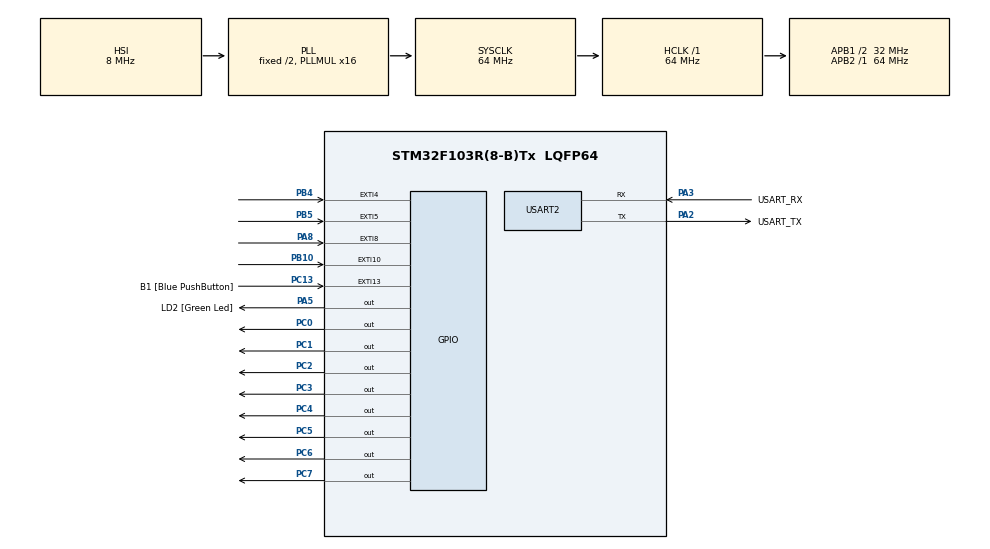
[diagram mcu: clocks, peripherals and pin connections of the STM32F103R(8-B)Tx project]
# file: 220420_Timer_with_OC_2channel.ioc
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Mcu.Family=STM32F1
Mcu.Name=STM32F103R(8-B)Tx
Mcu.Package=LQFP64
NVIC.EXTI15_10_IRQn=true\:0\:0\:false\:false\:true\:true\:true\:true
NVIC.EXTI4_IRQn=true\:0\:0\:false\:false\:true\:true\:true\:true
NVIC.EXTI9_5_IRQn=true\:0\:0\:false\:false\:true\:true\:true\:true
NVIC.PriorityGroup=NVIC_PRIORITYGROUP_4
NVIC.TIM2_IRQn=true\:0\:0\:false\:false\:true\:true\:true\:true
PA13.GPIO_Label=TMS
PA13.Mode=Serial_Wire
PA13.Signal=SYS_JTMS-SWDIO
PA14.GPIO_Label=TCK
PA14.Mode=Serial_Wire
PA14.Signal=SYS_JTCK-SWCLK
PA2.GPIO_Label=USART_TX
PA2.GPIO_Mode=GPIO_MODE_AF_PP
PA2.GPIO_PuPd=GPIO_NOPULL
PA2.GPIO_Speed=GPIO_SPEED_FREQ_LOW
PA2.Mode=Asynchronous
PA2.Signal=USART2_TX
PA3.GPIO_Label=USART_RX
PA3.GPIO_Mode=GPIO_MODE_AF_PP
PA3.GPIO_PuPd=GPIO_NOPULL
PA3.GPIO_Speed=GPIO_SPEED_FREQ_LOW
PA3.Mode=Asynchronous
PA3.Signal=USART2_RX
PA5.GPIO_Label=LD2 [Green Led]
PA5.GPIO_ModeDefaultOutputPP=GPIO_MODE_OUTPUT_PP
PA5.GPIO_PuPd=GPIO_NOPULL
PA5.GPIO_Speed=GPIO_SPEED_FREQ_LOW
PA5.Signal=GPIO_Output
PA8.Signal=GPXTI8
PB10.Signal=GPXTI10
PB3.GPIO_Label=SWO
PB3.Signal=SYS_JTDO-TRACESWO
PB4.Signal=GPXTI4
PB5.Signal=GPXTI5
PC0.Signal=GPIO_Output
PC1.Signal=GPIO_Output
PC13-TAMPER-RTC.GPIO_Label=B1 [Blue PushButton]
PC13-TAMPER-RTC.GPIO_PuPd=GPIO_NOPULL
PC13-TAMPER-RTC.Signal=GPXTI13
PC14-OSC32_IN.Mode=LSE-External-Oscillator
PC14-OSC32_IN.Signal=RCC_OSC32_IN
PC15-OSC32_OUT.Mode=LSE-External-Oscillator
PC15-OSC32_OUT.Signal=RCC_OSC32_OUT
PC2.Signal=GPIO_Output
PC3.Signal=GPIO_Output
PC4.Signal=GPIO_Output
PC5.Signal=GPIO_Output
PC6.Signal=GPIO_Output
PC7.Signal=GPIO_Output
PD0-OSC_IN.Mode=HSE-External-Clock-Source
PD0-OSC_IN.Signal=RCC_OSC_IN
PD1-OSC_OUT.Mode=HSE-External-Clock-Source
PD1-OSC_OUT.Signal=RCC_OSC_OUT
ProjectManager.HeapSize=0x200
ProjectManager.StackSize=0x400
ProjectManager.TargetToolchain=STM32CubeIDE
RCC.AHBFreq_Value=64000000
RCC.APB1CLKDivider=RCC_HCLK_DIV2
RCC.APB1Freq_Value=32000000
RCC.APB1TimFreq_Value=64000000
RCC.APB2Freq_Value=64000000
RCC.APB2TimFreq_Value=64000000
RCC.HCLKFreq_Value=64000000
RCC.PLLMUL=RCC_PLL_MUL16
RCC.RTCClockSelection=RCC_RTCCLKSOURCE_LSE
RCC.SYSCLKFreq_VALUE=64000000
RCC.SYSCLKSource=RCC_SYSCLKSOURCE_PLLCLK
RCC.USBFreq_Value=64000000
TIM2.Channel-Output\ Compare1\ No\ Output=TIM_CHANNEL_1
TIM2.Channel-Output\ Compare2\ No\ Output=TIM_CHANNEL_2
TIM2.Period=10000-1
TIM2.Prescaler=6400-1
TIM2.Pulse-Output\ Compare1\ No\ Output=1000-1
TIM2.Pulse-Output\ Compare2\ No\ Output=9000-1
USART2.VirtualMode=VM_ASYNC
VP_TIM2_VS_ClockSourceINT.Mode=Internal
VP_TIM2_VS_no_output1.Mode=Output Compare1 No Output
VP_TIM2_VS_no_output2.Mode=Output Compare2 No Output
board=NUCLEO-F103RB

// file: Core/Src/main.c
/* USER CODE BEGIN Header */
/**
  ******************************************************************************
  * @file           : main.c
  * @brief          : Main program body
  ******************************************************************************
  * @attention
  *
  * Copyright (c) 2022 STMicroelectronics.
  * All rights reserved.
  *
  * This software is licensed under terms that can be found in the LICENSE file
  * in the root directory of this software component.
  * If no LICENSE file comes with this software, it is provided AS-IS.
  *
  ******************************************************************************
  */
/* USER CODE END Header */
#include "main.h"

 TIM_HandleTypeDef htim2;

UART_HandleTypeDef huart2;

void SystemClock_Config(void);
static void MX_GPIO_Init(void);
static void MX_USART2_UART_Init(void);
static void MX_TIM2_Init(void);

/* USER CODE BEGIN 0 */

TIM_OC_InitTypeDef sConfigOC = {0};
/* USER CODE END 0 */

int main(void)
{

  /* MCU Configuration--------------------------------------------------------*/

  /* Reset of all peripherals, Initializes the Flash interface and the Systick. */
  HAL_Init();

  /* Configure the system clock */
  SystemClock_Config();

  /* Initialize all configured peripherals */
  MX_GPIO_Init();
  MX_USART2_UART_Init();
  MX_TIM2_Init();
  /* USER CODE BEGIN 2 */
  HAL_TIM_Base_Start_IT(&htim2);
  HAL_TIM_OC_Start_IT(&htim2, TIM_CHANNEL_1);
  HAL_TIM_OC_Start_IT(&htim2, TIM_CHANNEL_2);
  /* USER CODE END 2 */

  /* Infinite loop */
  while (1)
  {

  }
}

void SystemClock_Config(void)
{
  RCC_OscInitTypeDef RCC_OscInitStruct = {0};
  RCC_ClkInitTypeDef RCC_ClkInitStruct = {0};

  /** Initializes the RCC Oscillators according to the specified parameters
  * in the RCC_OscInitTypeDef structure.
  */
  RCC_OscInitStruct.OscillatorType = RCC_OSCILLATORTYPE_HSI;
  RCC_OscInitStruct.HSIState = RCC_HSI_ON;
  RCC_OscInitStruct.HSICalibrationValue = RCC_HSICALIBRATION_DEFAULT;
  RCC_OscInitStruct.PLL.PLLState = RCC_PLL_ON;
  RCC_OscInitStruct.PLL.PLLSource = RCC_PLLSOURCE_HSI_DIV2;
  RCC_OscInitStruct.PLL.PLLMUL = RCC_PLL_MUL16;
  if (HAL_RCC_OscConfig(&RCC_OscInitStruct) != HAL_OK)
  {
    Error_Handler();
  }

  /** Initializes the CPU, AHB and APB buses clocks
  */
  RCC_ClkInitStruct.ClockType = RCC_CLOCKTYPE_HCLK|RCC_CLOCKTYPE_SYSCLK
                              |RCC_CLOCKTYPE_PCLK1|RCC_CLOCKTYPE_PCLK2;
  RCC_ClkInitStruct.SYSCLKSource = RCC_SYSCLKSOURCE_PLLCLK;
  RCC_ClkInitStruct.AHBCLKDivider = RCC_SYSCLK_DIV1;
  RCC_ClkInitStruct.APB1CLKDivider = RCC_HCLK_DIV2;
  RCC_ClkInitStruct.APB2CLKDivider = RCC_HCLK_DIV1;

  if (HAL_RCC_ClockConfig(&RCC_ClkInitStruct, FLASH_LATENCY_2) != HAL_OK)
  {
    Error_Handler();
  }
}

static void MX_TIM2_Init(void)
{

  TIM_ClockConfigTypeDef sClockSourceConfig = {0};
  TIM_MasterConfigTypeDef sMasterConfig = {0};

  htim2.Instance = TIM2;
  htim2.Init.Prescaler = 6400-1;
  htim2.Init.CounterMode = TIM_COUNTERMODE_UP;
  htim2.Init.Period = 10000-1;
  htim2.Init.ClockDivision = TIM_CLOCKDIVISION_DIV1;
  htim2.Init.AutoReloadPreload = TIM_AUTORELOAD_PRELOAD_DISABLE;
  if (HAL_TIM_Base_Init(&htim2) != HAL_OK)
  {
    Error_Handler();
  }
  sClockSourceConfig.ClockSource = TIM_CLOCKSOURCE_INTERNAL;
  if (HAL_TIM_ConfigClockSource(&htim2, &sClockSourceConfig) != HAL_OK)
  {
    Error_Handler();
  }
  if (HAL_TIM_OC_Init(&htim2) != HAL_OK)
  {
    Error_Handler();
  }
  sMasterConfig.MasterOutputTrigger = TIM_TRGO_RESET;
  sMasterConfig.MasterSlaveMode = TIM_MASTERSLAVEMODE_DISABLE;
  if (HAL_TIMEx_MasterConfigSynchronization(&htim2, &sMasterConfig) != HAL_OK)
  {
    Error_Handler();
  }
  sConfigOC.OCMode = TIM_OCMODE_TIMING;
  sConfigOC.Pulse = 1000-1;
  sConfigOC.OCPolarity = TIM_OCPOLARITY_HIGH;
  sConfigOC.OCFastMode = TIM_OCFAST_DISABLE;
  if (HAL_TIM_OC_ConfigChannel(&htim2, &sConfigOC, TIM_CHANNEL_1) != HAL_OK)
  {
    Error_Handler();
  }
  sConfigOC.Pulse = 9000-1;
  if (HAL_TIM_OC_ConfigChannel(&htim2, &sConfigOC, TIM_CHANNEL_2) != HAL_OK)
  {
    Error_Handler();
  }

}

static void MX_USART2_UART_Init(void)
{

  huart2.Instance = USART2;
  huart2.Init.BaudRate = 115200;
  huart2.Init.WordLength = UART_WORDLENGTH_8B;
  huart2.Init.StopBits = UART_STOPBITS_1;
  huart2.Init.Parity = UART_PARITY_NONE;
  huart2.Init.Mode = UART_MODE_TX_RX;
  huart2.Init.HwFlowCtl = UART_HWCONTROL_NONE;
  huart2.Init.OverSampling = UART_OVERSAMPLING_16;
  if (HAL_UART_Init(&huart2) != HAL_OK)
  {
    Error_Handler();
  }

}

static void MX_GPIO_Init(void)
{
  GPIO_InitTypeDef GPIO_InitStruct = {0};

  /* GPIO Ports Clock Enable */
  __HAL_RCC_GPIOC_CLK_ENABLE();
  __HAL_RCC_GPIOD_CLK_ENABLE();
  __HAL_RCC_GPIOA_CLK_ENABLE();
  __HAL_RCC_GPIOB_CLK_ENABLE();

  /*Configure GPIO pin Output Level */
  HAL_GPIO_WritePin(GPIOC, GPIO_PIN_0|GPIO_PIN_1|GPIO_PIN_2|GPIO_PIN_3
                          |GPIO_PIN_4|GPIO_PIN_5|GPIO_PIN_6|GPIO_PIN_7, GPIO_PIN_RESET);

  /*Configure GPIO pin Output Level */
  HAL_GPIO_WritePin(LD2_GPIO_Port, LD2_Pin, GPIO_PIN_RESET);

  /*Configure GPIO pin : B1_Pin */
  GPIO_InitStruct.Pin = B1_Pin;
  GPIO_InitStruct.Mode = GPIO_MODE_IT_RISING;
  GPIO_InitStruct.Pull = GPIO_NOPULL;
  HAL_GPIO_Init(B1_GPIO_Port, &GPIO_InitStruct);

  /*Configure GPIO pins : PC0 PC1 PC2 PC3
                           PC4 PC5 PC6 PC7 */
  GPIO_InitStruct.Pin = GPIO_PIN_0|GPIO_PIN_1|GPIO_PIN_2|GPIO_PIN_3
                          |GPIO_PIN_4|GPIO_PIN_5|GPIO_PIN_6|GPIO_PIN_7;
  GPIO_InitStruct.Mode = GPIO_MODE_OUTPUT_PP;
  GPIO_InitStruct.Pull = GPIO_NOPULL;
  GPIO_InitStruct.Speed = GPIO_SPEED_FREQ_LOW;
  HAL_GPIO_Init(GPIOC, &GPIO_InitStruct);

  /*Configure GPIO pin : LD2_Pin */
  GPIO_InitStruct.Pin = LD2_Pin;
  GPIO_InitStruct.Mode = GPIO_MODE_OUTPUT_PP;
  GPIO_InitStruct.Pull = GPIO_NOPULL;
  GPIO_InitStruct.Speed = GPIO_SPEED_FREQ_LOW;
  HAL_GPIO_Init(LD2_GPIO_Port, &GPIO_InitStruct);

  /*Configure GPIO pins : PB10 PB4 PB5 */
  GPIO_InitStruct.Pin = GPIO_PIN_10|GPIO_PIN_4|GPIO_PIN_5;
  GPIO_InitStruct.Mode = GPIO_MODE_IT_RISING;
  GPIO_InitStruct.Pull = GPIO_NOPULL;
  HAL_GPIO_Init(GPIOB, &GPIO_InitStruct);

  /*Configure GPIO pin : PA8 */
  GPIO_InitStruct.Pin = GPIO_PIN_8;
  GPIO_InitStruct.Mode = GPIO_MODE_IT_RISING;
  GPIO_InitStruct.Pull = GPIO_NOPULL;
  HAL_GPIO_Init(GPIOA, &GPIO_InitStruct);

  /* EXTI interrupt init*/
  HAL_NVIC_SetPriority(EXTI4_IRQn, 0, 0);
  HAL_NVIC_EnableIRQ(EXTI4_IRQn);

  HAL_NVIC_SetPriority(EXTI9_5_IRQn, 0, 0);
  HAL_NVIC_EnableIRQ(EXTI9_5_IRQn);

  HAL_NVIC_SetPriority(EXTI15_10_IRQn, 0, 0);
  HAL_NVIC_EnableIRQ(EXTI15_10_IRQn);

}

/* USER CODE BEGIN 4 */
void HAL_TIM_PeriodElapsedCallback(TIM_HandleTypeDef *htim){
	HAL_GPIO_WritePin(GPIOC,GPIO_PIN_0|GPIO_PIN_1|GPIO_PIN_6|GPIO_PIN_7,GPIO_PIN_SET);
}

void HAL_TIM_OC_DelayElapsedCallback(TIM_HandleTypeDef *htim){
	if(htim->Channel==HAL_TIM_ACTIVE_CHANNEL_1) // 왜 Active?
	HAL_GPIO_WritePin(GPIOC,GPIO_PIN_0|GPIO_PIN_1,GPIO_PIN_RESET);
	if(htim->Channel==HAL_TIM_ACTIVE_CHANNEL_2)
	HAL_GPIO_WritePin(GPIOC,GPIO_PIN_6|GPIO_PIN_7,GPIO_PIN_RESET);
}

void HAL_GPIO_EXTI_Callback(uint16_t GPIO_Pin){

	if(GPIO_Pin == GPIO_PIN_8){
		htim2.Instance->CCR2 = 10000-1;
		htim2.Instance->CCR1 = 10000-1;

	}

	if(GPIO_Pin == GPIO_PIN_4){
		htim2.Instance->CCR1 = 2500-1;
	}
	if(GPIO_Pin == GPIO_PIN_5){
		htim2.Instance->CCR2 = 5000-1;
	}
	if(GPIO_Pin == GPIO_PIN_10){
		htim2.Instance->CCR2 = 1200-1;
	}

}

/* USER CODE END 4 */

void Error_Handler(void)
{
  __disable_irq();
  while (1)
  {
  }
}
